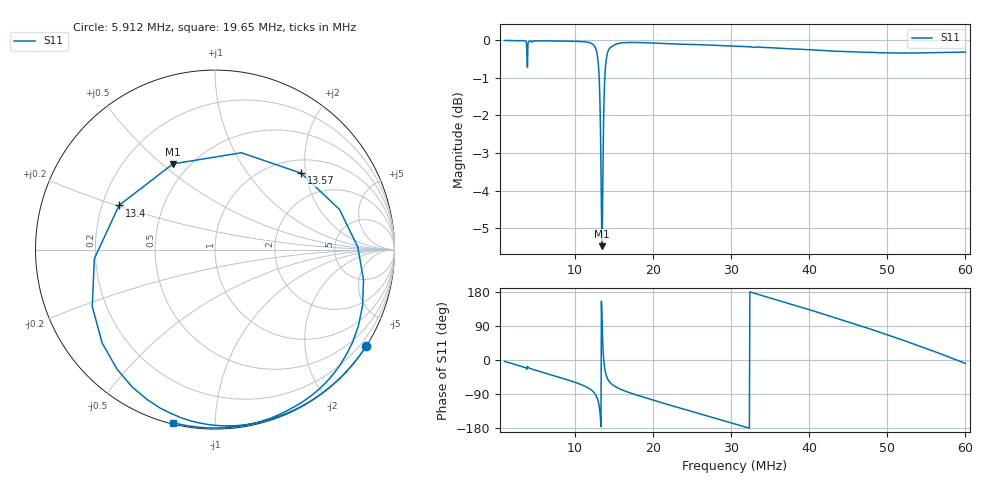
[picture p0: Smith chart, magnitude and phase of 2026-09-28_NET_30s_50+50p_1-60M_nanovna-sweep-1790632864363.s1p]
! NanoVNA Web complex sweep
! Processing: unaveraged complex samples; linear segment spacing; no smoothing
# Hz S RI R 50
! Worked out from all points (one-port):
!   1010 points, 1 MHz to 60 MHz, reference 50 ohm
!   lowest |S11| = -5.5 dB at 13.45 MHz (marker M1), VSWR 3.27, Z = 20.5 + j27.2 ohm
!   |S11| at or under -10 dB: nowhere
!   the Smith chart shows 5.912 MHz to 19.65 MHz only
!   S11 on the Smith chart (normalised r, x): 5.912 MHz: 0.01, -3.42; 13.4 MHz: 0.27, +0.20; 13.57 MHz: 1.30, +1.88; 19.65 MHz: 0.01, -0.79
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1000000  0.9977 -0.0671
5911816  0.8413 -0.5381
8426198  0.6658 -0.7437
1.140837e7  0.3336 -0.9379
1.216853e7  0.1688 -0.976
1.263633e7  -0.0197 -0.9769
1.29287e7  -0.2427 -0.9141
1.316259e7  -0.5453 -0.6667
1.339649e7  -0.5348 0.2463
1.345496e7  -0.2346 0.4774
1.357191e7  0.4795 0.4259
1.374733e7  0.8276 -0.1695
1.392275e7  0.768 -0.5136
1.415665e7  0.6389 -0.7178
1.444902e7  0.5165 -0.8285
1.579392e7  0.2293 -0.9649
1.965321e7  -0.2353 -0.9642
2.316165e7  -0.5683 -0.8094
2.702093e7  -0.837 -0.5214
3.052937e7  -0.9648 -0.1872
3.415476e7  -0.9613 0.1855
3.789709e7  -0.8081 0.5446
4.175638e7  -0.5099 0.8248
4.526482e7  -0.1496 0.9539
4.894868e7  0.266 0.9255
5.263254e7  0.6461 0.7133
5.649183e7  0.9117 0.312
6.000027e7  0.9531 -0.1502
